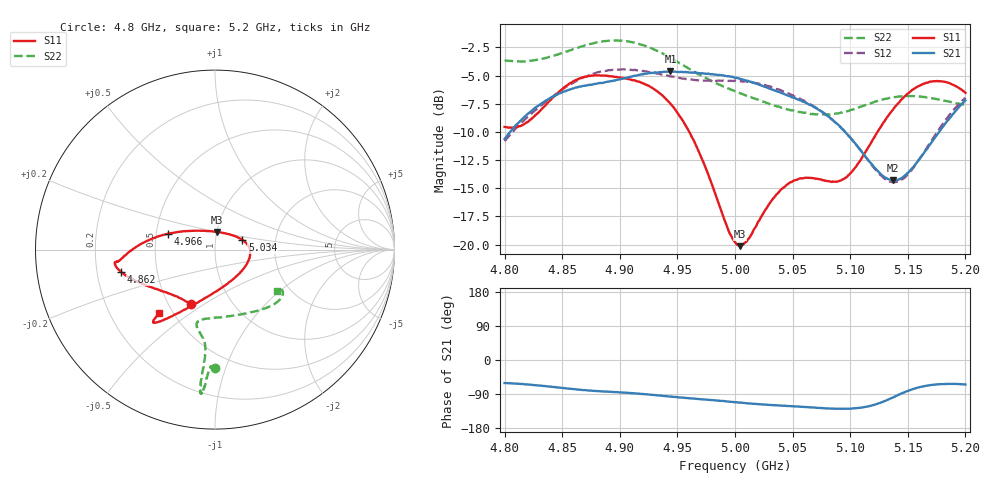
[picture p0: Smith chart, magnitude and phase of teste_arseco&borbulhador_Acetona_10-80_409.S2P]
! Network Analyzer HP8722D
! Hewlett-Packard
! Data name: Linha & Wilkinson
! Saver's name: Rodrigo Anjos
! Comments: Teste da utilização de aquisição
! continua pelo VNA HP8722D
! Time and date: 17/4/2025 17:46
!  Frequency  S11  S21  S12  S22
# HZ  S  MA R 50
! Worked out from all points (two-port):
!   401 points, 4.8 GHz to 5.2 GHz, reference 50 ohm
!   highest |S21| = -4.64 dB at 4.944 GHz (marker M1); lowest = -14.3 dB at 5.137 GHz (marker M2)
!   |S21| within 3 dB of the highest: 4.83 GHz to 5.066 GHz (236.3 MHz wide, 4.78 % of centre); 5.195835 GHz to end of sweep
!   lowest |S11| = -20.1 dB at 5.004 GHz (marker M3), VSWR 1.22, Z = 50 + j9.89 ohm
!   |S11| at or under -10 dB: 4.96 GHz to 5.124 GHz (163.4 MHz wide, 3.24 % of centre)
!   |S22| runs from -8.5 to -1.9 dB; largest |S21 - S12| = 0.88
!   S11 on the Smith chart (normalised r, x): 4.8 GHz: 0.64, -0.44; 4.862 GHz: 0.30, -0.11; 4.966 GHz: 0.58, +0.11; 5.034 GHz: 1.35, +0.15; 5.2 GHz: 0.42, -0.38
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4.8e9  0.3328 -113.9  0.2942 -60.9  0.2881 -175.2  0.6585 -90.2
4.819e9  0.3484 -134.1  0.3755 -64.4  0.3639 -173.9  0.6519 -91.7
4.862e9  0.5379 -166.5  0.4989 -77.4  0.5304 -177.3  0.7433 -94.0
4.867e9  0.5503 -168.4  0.5048 -79.0  0.5468 -178.1  0.7581 -94.2
4.9e9  0.551 -173.0  0.5411 -85.5  0.5976 175.5  0.8036 -95.6
4.934e9  0.4725 -179.1  0.5816 -93.8  0.5733 171.7  0.7161 -96.0
4.944e9  0.4219 176.5  0.5864 -96.4  0.5575 171.8  0.6745 -95.7
4.966e9  0.2764 161.4  0.5792 -102.2  0.5368 173.6  0.5804 -95.3
4.993e9  0.1203 119.7  0.5586 -109.2  0.5342 175.9  0.496 -97.8
5e9  0.1027 97.9  0.5509 -111.5  0.5349 176.0  0.4796 -99.5
5.004e9  0.09835 84.2  0.545 -112.2  0.5316 176.0  0.4698 -100.3
5.012e9  0.1064 58.4  0.5309 -114.4  0.5256 175.6  0.454 -102.1
5.034e9  0.1619 19.7  0.4834 -119.3  0.496 174.7  0.4136 -103.6
5.05e9  0.1908 3.6  0.4512 -122.2  0.46 173.7  0.3942 -99.5
5.067e9  0.1974 -14.8  0.4132 -125.3  0.4149 173.6  0.3794 -90.6
5.086e9  0.1901 -45.2  0.3521 -128.5  0.3517 173.4  0.3802 -76.0
5.097e9  0.1992 -67.8  0.3104 -128.7  0.3104 174.7  0.3902 -67.0
5.134e9  0.3787 -117.4  0.1943 -103.1  0.1904 -156.0  0.4475 -43.0
5.137e9  0.3965 -119.0  0.1925 -99.1  0.1895 -151.2  0.4502 -41.7
5.15e9  0.468 -124.9  0.208 -81.8  0.2051 -131.4  0.4562 -36.8
5.17e9  0.5288 -129.6  0.2811 -66.0  0.2864 -112.3  0.4471 -32.1
5.2e9  0.4718 -131.2  0.4369 -64.6  0.4491 -106.8  0.4164 -33.6
